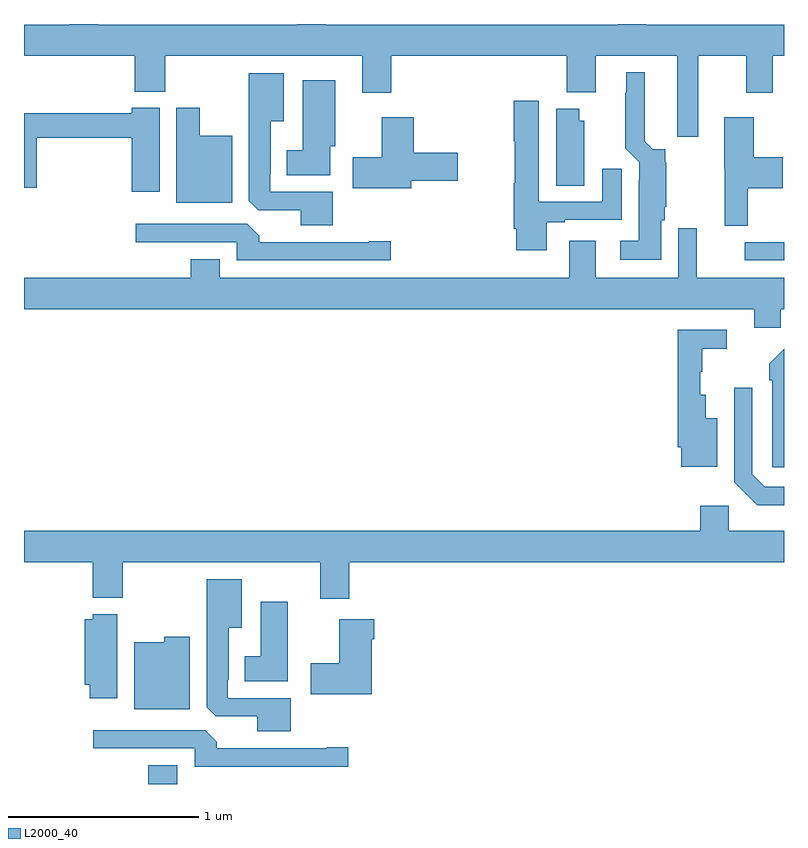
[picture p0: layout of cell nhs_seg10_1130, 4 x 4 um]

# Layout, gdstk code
import gdstk
lib = gdstk.Library(unit=1e-6, precision=1e-09)
def R(c, l, rs):  # rectangles x0, y0, x1, y1
    for r in rs: c.add(gdstk.rectangle(r[:2], r[2:], *l))
def P(c, l, *ps):  # polygons
    for p in ps: c.add(gdstk.Polygon(p, *l))
L2000_40 = (2000, 40)

nhs_seg10_1130 = lib.new_cell('nhs_seg10_1130')
R(nhs_seg10_1130, L2000_40, [(169.655,1280.5,169.807,1280.599), (172.794,1283.256,173,1283.352)])
P(nhs_seg10_1130, L2000_40, [(172.549,1284.332),(172.802,1284.332),(172.802,1284.138),(172.942,1284.138),(172.942,1284.332),(173,1284.332),(173,1284.496),(172.276,1284.496),(172.276,1284.5),(172.124,1284.5),(172.124,1284.496),(170.588,1284.496),(170.588,1284.5),(170.435,1284.5),(170.435,1284.496),(169.39,1284.496),(169.39,1284.5),(169.238,1284.5),(169.238,1284.496),(169,1284.496),(169,1284.332),(169.583,1284.332),(169.583,1284.143),(169.743,1284.143),(169.743,1284.332),(170.78,1284.332),(170.78,1284.138),(170.933,1284.138),(170.933,1284.332),(171.857,1284.332),(171.857,1284.14),(172.009,1284.14),(172.009,1284.332),(172.439,1284.332),(172.439,1283.907),(172.549,1283.907)],
  [(172.354,1283.466),(172.373,1283.466),(172.373,1283.538),(172.38,1283.538),(172.38,1283.77),(172.374,1283.776),(172.374,1283.842),(172.308,1283.842),(172.267,1283.884),(172.267,1284.247),(172.169,1284.247),(172.169,1284.137),(172.165,1284.137),(172.165,1283.846),(172.239,1283.772),(172.239,1283.678),(172.235,1283.678),(172.235,1283.359),(172.137,1283.359),(172.137,1283.258),(172.354,1283.258)],
  [(170.626,1283.616),(170.295,1283.616),(170.295,1283.713),(170.299,1283.713),(170.299,1283.987),(170.368,1283.987),(170.368,1284.241),(170.183,1284.241),(170.183,1283.569),(170.232,1283.52),(170.456,1283.52),(170.456,1283.441),(170.626,1283.441)],
  [(170.611,1283.856),(170.638,1283.856),(170.638,1284.205),(170.468,1284.205),(170.468,1283.836),(170.384,1283.836),(170.384,1283.705),(170.611,1283.705)],
  [(171.751,1283.457),(171.847,1283.457),(171.847,1283.469),(172.147,1283.469),(172.147,1283.737),(172.043,1283.737),(172.043,1283.565),(171.709,1283.565),(171.709,1284.097),(171.578,1284.097),(171.578,1283.884),(171.583,1283.884),(171.583,1283.662),(171.578,1283.662),(171.578,1283.422),(171.59,1283.422),(171.59,1283.31),(171.751,1283.31)],
  [(170.095,1283.911),(169.924,1283.911),(169.924,1284.058),(169.802,1284.058),(169.802,1283.558),(170.095,1283.558)],
  [(169.714,1284.058),(169.568,1284.058),(169.568,1284.031),(169,1284.031),(169,1283.637),(169.067,1283.637),(169.067,1283.902),(169.568,1283.902),(169.568,1283.616),(169.714,1283.616)],
  [(171.949,1283.991),(171.922,1283.991),(171.922,1284.055),(171.8,1284.055),(171.8,1283.65),(171.949,1283.65)],
  [(171.037,1283.675),(171.283,1283.675),(171.283,1283.822),(171.05,1283.822),(171.05,1284.01),(170.882,1284.01),(170.882,1283.799),(170.73,1283.799),(170.73,1283.636),(171.037,1283.636)],
  [(172.81,1283.636),(172.993,1283.636),(172.993,1283.799),(172.84,1283.799),(172.84,1284.01),(172.685,1284.01),(172.685,1283.74),(172.688,1283.74),(172.688,1283.439),(172.81,1283.439)],
  [(170.929,1283.357),(170.816,1283.357),(170.816,1283.352),(170.237,1283.352),(170.237,1283.386),(170.175,1283.448),(169.587,1283.448),(169.587,1283.352),(170.121,1283.352),(170.121,1283.256),(170.929,1283.256)],
  [(172.983,1283),(173,1283),(173,1283.164),(172.542,1283.164),(172.542,1283.425),(172.443,1283.425),(172.443,1283.164),(172.009,1283.164),(172.009,1283.359),(171.869,1283.359),(171.869,1283.164),(170.029,1283.164),(170.029,1283.263),(169.877,1283.263),(169.877,1283.164),(169,1283.164),(169,1283),(172.844,1283),(172.844,1282.902),(172.983,1282.902)],
  [(172.648,1282.426),(172.588,1282.426),(172.588,1282.549),(172.559,1282.549),(172.559,1282.671),(172.57,1282.671),(172.57,1282.792),(172.699,1282.792),(172.699,1282.89),(172.441,1282.89),(172.441,1282.273),(172.46,1282.273),(172.46,1282.169),(172.648,1282.169)],
  [(173,1282.79),(172.923,1282.713),(172.923,1282.625),(172.938,1282.625),(172.938,1282.167),(173,1282.167)],
  [(173,1282.065),(172.899,1282.065),(172.833,1282.131),(172.833,1282.585),(172.737,1282.585),(172.737,1282.089),(172.858,1281.968),(173,1281.968)],
  [(170.711,1281.668),(173,1281.668),(173,1281.832),(172.71,1281.832),(172.71,1281.964),(172.559,1281.964),(172.559,1281.832),(169,1281.832),(169,1281.668),(169.361,1281.668),(169.361,1281.479),(169.521,1281.479),(169.521,1281.668),(170.558,1281.668),(170.558,1281.474),(170.711,1281.474)],
  [(170.404,1280.952),(170.073,1280.952),(170.073,1281.049),(170.077,1281.049),(170.077,1281.323),(170.146,1281.323),(170.146,1281.577),(169.961,1281.577),(169.961,1280.905),(170.01,1280.856),(170.228,1280.856),(170.228,1280.777),(170.404,1280.777)],
  [(170.389,1281.46),(170.246,1281.46),(170.246,1281.172),(170.162,1281.172),(170.162,1281.041),(170.389,1281.041)],
  [(169.492,1281.394),(169.362,1281.394),(169.362,1281.367),(169.319,1281.367),(169.319,1281.023),(169.346,1281.023),(169.346,1280.952),(169.492,1280.952)],
  [(170.83,1281.263),(170.843,1281.263),(170.843,1281.367),(170.66,1281.367),(170.66,1281.135),(170.508,1281.135),(170.508,1280.972),(170.83,1280.972)],
  [(169.873,1281.274),(169.737,1281.274),(169.737,1281.247),(169.58,1281.247),(169.58,1280.894),(169.873,1280.894)],
  [(170.707,1280.693),(170.594,1280.693),(170.594,1280.688),(170.015,1280.688),(170.015,1280.722),(169.953,1280.784),(169.365,1280.784),(169.365,1280.688),(169.899,1280.688),(169.899,1280.592),(170.707,1280.592)])

lib.write_gds('nhs_seg10_1130.gds')
